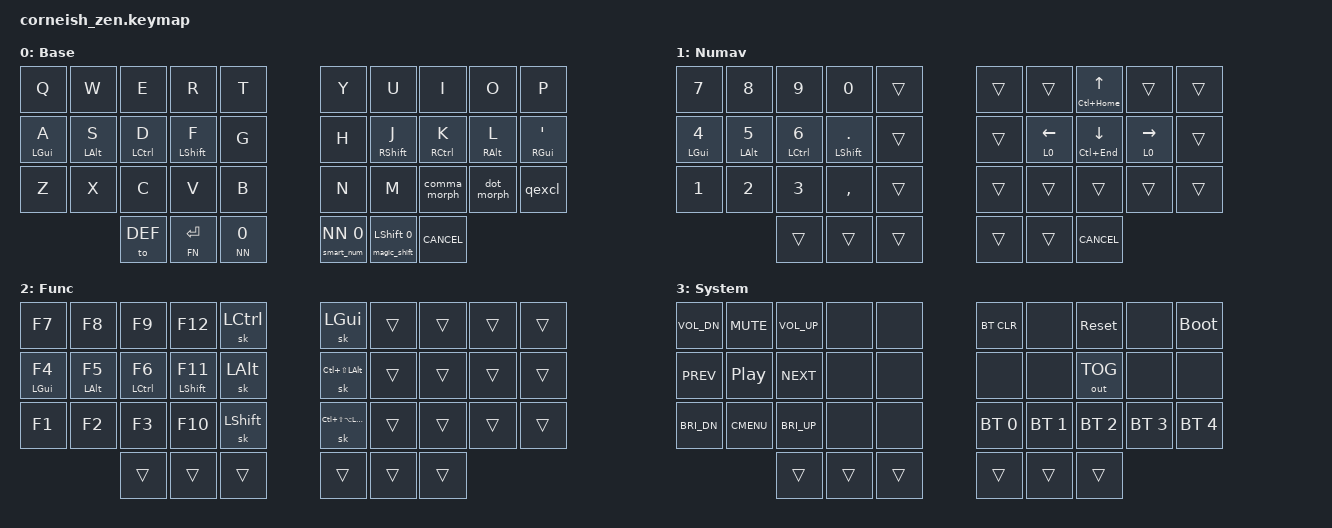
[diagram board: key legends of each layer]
#include <behaviors.dtsi>
#include <behaviors/num_word.dtsi> // Requires auto-layer module.
#include <dt-bindings/zmk/keys.h>
#include <dt-bindings/zmk/bt.h>
#include <dt-bindings/zmk/outputs.h>
#include "zmk-helpers/helper.h"
#include "zmk-helpers/key-labels/36.h"

/ { chosen { zmk,physical-layout = &foostan_corne_5col_layout; }; };

#define DEF 0
#define NN 1
#define FN 2
#define SYS 3
#define MOUSE 4

#define XXX &none
#define ___ &trans

/* Global defaults */

#define QUICK_TAP_MS 175

&sk {
  release-after-ms = <900>;
  quick-release;
};

&sl { // Allow sticky mods to chord across sticky layers.
  ignore-modifiers;
};

&lt {
  flavor = "balanced";
  tapping-term-ms = <200>;
  quick-tap-ms = <QUICK_TAP_MS>;
};

/* Homerow mods */

#define KEYS_L LT0 LT1 LT2 LT3 LT4 LM0 LM1 LM2 LM3 LM4 LB0 LB1 LB2 LB3 LB4
#define KEYS_R RT0 RT1 RT2 RT3 RT4 RM0 RM1 RM2 RM3 RM4 RB0 RB1 RB2 RB3 RB4
#ifndef LH2
  #define THUMBS LH1 LH0 RH0 RH1         // Thumbs on 34 keys.
#else
  #define THUMBS LH2 LH1 LH0 RH0 RH1 RH2 // Thumbs on 36+ keys.
#endif

#define MAKE_HRM(NAME, HOLD, TAP, TRIGGER_POS)                                 \
  ZMK_HOLD_TAP(NAME, bindings = <HOLD>, <TAP>; flavor = "balanced";            \
               tapping-term-ms = <200>; quick-tap-ms = <QUICK_TAP_MS>;         \
               require-prior-idle-ms = <130>; hold-trigger-on-release;         \
               hold-trigger-key-positions = <TRIGGER_POS>;)

MAKE_HRM(hml, &kp, &kp, KEYS_R THUMBS) // Left-hand HRMs.
MAKE_HRM(hmr, &kp, &kp, KEYS_L THUMBS) // Right-hand HRMs.

// Hack: Make HRM combos tap-only (cf, ZMK issue #544).
#define ZMK_COMBO_8(NAME, TAP, POS, LAYERS, COMBO_MS, IDLE_MS, HOLD, SIDE)     \
  MAKE_HRM(hm_combo_##NAME, &kp, TAP, SIDE THUMBS)                             \
  ZMK_COMBO_6(NAME, &hm_combo_##NAME HOLD 0, POS, LAYERS, COMBO_MS, IDLE_MS)

/* Combos, leader key sequences, mouse emulation */

#include "combos.dtsi" // Must be sourced after HRM-combo hack.
#include "leader.dtsi"
#include "mouse.dtsi"

/* Nav cluster */

// Trigger tap-action on all interrupts.
#define MT_CORE                                                                \
  flavor = "tap-preferred";                                                    \
  tapping-term-ms = <220>;                                                     \
  quick-tap-ms = <220>;                                                        \
  hold-trigger-key-positions = <0>;

&mt { MT_CORE };

ZMK_HOLD_TAP(mt_home, bindings = <&masked_home>, <&kp>; MT_CORE)
ZMK_HOLD_TAP(mt_end, bindings = <&masked_end>, <&kp>; MT_CORE)

#define NAV_LEFT  &mt_home 0   LEFT  // Tap: left  | Long-tap: start of line.
#define NAV_RIGHT &mt_end 0    RIGHT // Tap: right | Long-tap: end   of line.
#define NAV_UP    &mt LC(HOME) UP    // Tap: up    | Long-tap: start of doc.
#define NAV_DOWN  &mt LC(END)  DOWN  // Tap: down  | Long-tap: end   of doc.
#define NAV_BSPC  &mt LC(BSPC) BSPC  // Tap: bspc  | Long-tap: delete word bwd.
#define NAV_DEL   &mt LC(DEL)  DEL   // Tap: del   | Long-tap: delete word fwd.

// Mask CTRL on left/right hold to avoid accidental jumps to start/end of doc.
#define MASK_MODS(NAME, MODS, BINDING)                                         \
  ZMK_MOD_MORPH(NAME, bindings = <BINDING>, <BINDING>; mods = <MODS>;)

MASK_MODS(masked_home, (MOD_LCTL), &kp HOME)
MASK_MODS(masked_end,  (MOD_LCTL), &kp END)

/* Magic-shift & auto-layers */

// Tap: repeat after alpha, else sticky-shift |
// Shift + tap/ double-tap: caps-word | Hold: shift.
#define MAGIC_SHIFT &magic_shift LSHFT 0
ZMK_HOLD_TAP(magic_shift, bindings = <&kp>, <&magic_shift_tap>;
             flavor = "balanced"; tapping-term-ms = <200>;
             quick-tap-ms = <QUICK_TAP_MS>;)
ZMK_MOD_MORPH(magic_shift_tap, bindings = <&shift_repeat>, <&caps_word>;
              mods = <(MOD_LSFT)>;)
ZMK_ADAPTIVE_KEY(
    shift_repeat, bindings = <&sk LSHFT>;
    repeat {
      trigger-keys = <A B C D E F G H I J K L M N O P Q R S T U V W X Y Z>;
      bindings = <&key_repeat>;
      max-prior-idle-ms = <1200>;
      strict-modifiers;
    };)
&caps_word { // Mods deactivate caps-word, requires PR #1451. [TODO: rebase]
  /delete-property/ ignore-modifiers;
};

// Tap: num-word | double-tap: sticky num-layer | Hold: num-layer.
#define SMART_NUM &smart_num NN 0
ZMK_HOLD_TAP(smart_num, bindings = <&mo>, <&num_dance>; flavor = "balanced";
             tapping-term-ms = <200>; quick-tap-ms = <QUICK_TAP_MS>;)
ZMK_TAP_DANCE(num_dance, bindings = <&num_word NN>, <&sl NN>;
              tapping-term-ms = <200>;)

// Smart-mouse, requires tri-state module.
ZMK_TRI_STATE(
    smart_mouse, bindings = <&tog MOUSE>, <&none>, <&tog MOUSE>;
    ignored-key-positions =
        <LT1 LT2 LH0 LH1 RT1 RT2 RT3 RM0 RM1 RM2 RM3 RM4 RB1 RB2 RB3 RH0 RH1>;
    ignored-layers = <MOUSE NN FN>;)

/* Custom behaviors */

// Alt+Tab swapper, requires tri-state module.
ZMK_TRI_STATE(swapper1, bindings = <&kt LALT>, <&kp TAB>, <&kt LALT>;
              ignored-key-positions = <LT2 RT2 RT3 RM1 RM2 RM3>;)

// Alt+Shift language swapper, requires tri-state module.
ZMK_TRI_STATE(swapper2, bindings = <&kt LALT>, <&kp LSHFT>, <&kt LALT>;
              ignored-key-positions = <LT2 RT2 RT3 RT4 RM1 RM2 RM3 RM4>;)

// Define mod-morph with a *single* mod trigger for less repetition.
#define SIMPLE_MORPH(NAME, MOD, BINDING1, BINDING2)                            \
  ZMK_MOD_MORPH(NAME, mods = <(MOD_L##MOD | MOD_R##MOD)>;                      \
                bindings = <BINDING1>, <BINDING2>;)

// Tap: comma | Shift + tap: semicolon | Ctrl + shift + tap: <.
SIMPLE_MORPH(comma_morph, SFT, &kp COMMA, &comma_inner_morph)
SIMPLE_MORPH(comma_inner_morph, CTL, &kp SEMICOLON, &kp LESS_THAN)

// Tap: dot | Shift + tap: colon | Ctrl + shift + tap: >.
SIMPLE_MORPH(dot_morph, SFT, &kp DOT, &dot_inner_morph)
SIMPLE_MORPH(dot_inner_morph, CTL, &kp COLON, &kp GREATER_THAN)

// Tap: qmark | Shift + tap: excl.
SIMPLE_MORPH(qexcl, SFT, &kp QMARK, &kp EXCL)

// Tap: left/right parenthesis | Shft + tap: less-than/greater-than.
SIMPLE_MORPH(lpar_lt, SFT, &kp LPAR, &kp LT)
SIMPLE_MORPH(rpar_gt, SFT, &kp RPAR, &kp GT)

// Tap: space | Shift + tap: dot -> space -> sticky shift | Hold: nav layer.
ZMK_HOLD_TAP(lt_spc, bindings = <&mo>, <&spc_morph>; flavor = "balanced";
             tapping-term-ms = <200>; quick-tap-ms = <QUICK_TAP_MS>;)
SIMPLE_MORPH(spc_morph, SFT, &kp SPACE, &dot_spc)
ZMK_MACRO(dot_spc, bindings = <&kp DOT &kp SPACE &sk LSHFT>; wait-ms = <0>;
          tap-ms = <5>;)

// Tap: backspace | Lshft + tap: delete | Rshft + tap: shift-delete.
ZMK_MOD_MORPH(bs_del, bindings = <&kp BSPC>, <&kp DEL>;
              mods = <(MOD_LSFT|MOD_RSFT)>; keep-mods = <MOD_RSFT>;)

// Tap: copy | double-tap: cut.
ZMK_TAP_DANCE(copy_cut, bindings = <&kp LC(INS)>, <&kp LC(X)>;
              tapping-term-ms = <200>;)

// Sticky shift + leader.
ZMK_MACRO(leader_sft, bindings = <&sk LSHFT &leader>;)

// Misc aliases.
#define CANCEL    &kp K_CANCEL            // Cancel caps-word & auto-layers.
#define MEH       &sk LC(LS(LALT))
#define HYPER     &sk LC(LS(LA(LGUI)))
#define DSK_PREV  &hmr LCTRL LG(LC(LEFT)) // Previous desktop.
#define DSK_NEXT  &hmr LALT LG(LC(RIGHT)) // Next     desktop.
#define PIN_WIN   &kp LG(LC(LS(Q)))       // Pin window across desktops.
#define PIN_APP   &kp LG(LC(LS(A)))       // Pin application across desktops.
#define DSK_MGR   &kp LA(GRAVE)           // Desktop manager.
#define VOL_DOWN  &hmr RSHFT C_VOL_DN

// -------------------------------------------------------------------------- //

ZMK_CONDITIONAL_LAYER(sys, NN FN, SYS) // NN + FN --> SYS.

#ifndef ZMK_BASE_LAYER
  #define ZMK_BASE_LAYER(name, LT, RT, LM, RM, LB, RB, LH, RH)                 \
      ZMK_LAYER(name, LT RT LM RM LB RB LH RH)
#endif

ZMK_LAYER(Base,
     // ╭─────────────┬─────────────┬─────────────┬─────────────┬─────────────╮   ╭─────────────┬─────────────┬─────────────┬─────────────┬─────────────╮
          &kp Q         &kp W         &kp E         &kp R         &kp T             &kp Y         &kp U         &kp I         &kp O         &kp P
     // ├─────────────┼─────────────┼─────────────┼─────────────┼─────────────┤   ├─────────────┼─────────────┼─────────────┼─────────────┼─────────────┤
          &hml LGUI A   &hml LALT S   &hml LCTRL D  &hml LSHFT F  &kp G             &kp H         &hmr RSHFT J  &hmr RCTRL K  &hmr RALT L   &hmr RGUI SQT
     // ├─────────────┼─────────────┼─────────────┼─────────────┼─────────────┤   ├─────────────┼─────────────┼─────────────┼─────────────┼─────────────┤
          &kp Z         &kp X         &kp C         &kp V         &kp B             &kp N         &kp M         &comma_morph  &dot_morph    &qexcl
     // ╰─────────────┼─────────────┼─────────────┼─────────────┼─────────────┤   ├─────────────┼─────────────┼─────────────┼─────────────┼─────────────┤
                                      &to DEF       &lt FN RET    &lt_spc NN 0      SMART_NUM     MAGIC_SHIFT   CANCEL
     //                             ╰─────────────┴─────────────┴─────────────╯   ╰─────────────┴─────────────┴─────────────╯
)

ZMK_LAYER(Numav,
     // ╭─────────────┬─────────────┬─────────────┬─────────────┬─────────────╮   ╭─────────────┬─────────────┬─────────────┬─────────────┬─────────────╮
          &kp N7        &kp N8        &kp N9        &kp N0         ___              ___           ___           NAV_UP        ___           ___
     // ├─────────────┼─────────────┼─────────────┼─────────────┼─────────────┤   ├─────────────┼─────────────┼─────────────┼─────────────┼─────────────┤
          &hml LGUI N4  &hml LALT N5  &hml LCTRL N6 &hml LSHFT DOT ___              ___           NAV_LEFT      NAV_DOWN      NAV_RIGHT     ___
     // ├─────────────┼─────────────┼─────────────┼─────────────┼─────────────┤   ├─────────────┼─────────────┼─────────────┼─────────────┼─────────────┤
          &kp N1        &kp N2        &kp N3        &kp COMMA      ___              ___           ___           ___           ___           ___
     // ╰─────────────┼─────────────┼─────────────┼─────────────┼─────────────┤   ├─────────────┼─────────────┼─────────────┼─────────────┼─────────────┤
                                      ___          ___             ___              ___           ___           CANCEL
     //                             ╰─────────────┴─────────────┴─────────────╯   ╰─────────────┴─────────────┴─────────────╯
)

ZMK_LAYER(Func,
     // ╭─────────────┬─────────────┬─────────────┬─────────────┬─────────────╮   ╭─────────────┬─────────────┬─────────────┬─────────────┬─────────────╮
          &kp F7        &kp F8        &kp F9        &kp F12        &sk LCTRL        &sk LGUI      ___           ___           ___           ___
     // ├─────────────┼─────────────┼─────────────┼─────────────┼─────────────┤   ├─────────────┼─────────────┼─────────────┼─────────────┼─────────────┤
          &hml LGUI F4  &hml LALT F5  &hml LCTRL F6 &hml LSHFT F11 &sk LALT         MEH           ___           ___           ___           ___
     // ├─────────────┼─────────────┼─────────────┼─────────────┼─────────────┤   ├─────────────┼─────────────┼─────────────┼─────────────┼─────────────┤
          &kp F1        &kp F2        &kp F3        &kp F10        &sk LSHIFT       HYPER         ___           ___           ___           ___
     // ╰─────────────┼─────────────┼─────────────┼─────────────┼─────────────┤   ├─────────────┼─────────────┼─────────────┼─────────────┼─────────────┤
                                      ___           ___            ___              ___           ___           ___
     //                             ╰─────────────┴─────────────┴─────────────╯   ╰─────────────┴─────────────┴─────────────╯
)

ZMK_LAYER(System,
     // ╭─────────────┬─────────────┬─────────────┬─────────────┬─────────────╮   ╭─────────────┬─────────────┬─────────────┬─────────────┬─────────────╮
          &kp C_VOL_DN  &kp C_MUTE    &kp C_VOL_UP  &none         &none             &bt BT_CLR    &none         &sys_reset    &none         &bootloader
     // ├─────────────┼─────────────┼─────────────┼─────────────┼─────────────┤   ├─────────────┼─────────────┼─────────────┼─────────────┼─────────────┤
          &kp C_PREV    &kp C_PP      &kp C_NEXT    &none         &none             &none         &none         &out OUT_TOG  &none         &none       
     // ├─────────────┼─────────────┼─────────────┼─────────────┼─────────────┤   ├─────────────┼─────────────┼─────────────┼─────────────┼─────────────┤
          &kp C_BRI_DN &kp K_CMENU   &kp C_BRI_UP   &none         &none             &bt BT_SEL 0  &bt BT_SEL 1  &bt BT_SEL 2  &bt BT_SEL 3  &bt BT_SEL 4
     // ╰─────────────┼─────────────┼─────────────┼─────────────┼─────────────┤   ├─────────────┼─────────────┼─────────────┼─────────────┼─────────────┤
                                      ___           ___           ___               ___           ___           ___
     //                             ╰─────────────┴─────────────┴─────────────╯   ╰─────────────┴─────────────┴─────────────╯
)

ZMK_BASE_LAYER(Mouse,
      //╭─────────────┬─────────────┬─────────────┬─────────────┬─────────────╮ ╭─────────────┬─────────────┬─────────────┬─────────────┬─────────────╮
          ___           ___           ___           ___           ___         ,   ___           &kp PG_UP     U_MS_U         &kp PG_DN    ___         ,
      //├─────────────┼─────────────┼─────────────┼─────────────┼─────────────┤ ├─────────────┼─────────────┼─────────────┼─────────────┼─────────────┤
          ___           ___           ___           ___           ___         ,   U_WH_L        U_MS_L        U_MS_D         U_MS_R       U_WH_R      ,
      //├─────────────┼─────────────┼─────────────┼─────────────┼─────────────┤ ├─────────────┼─────────────┼─────────────┼─────────────┼─────────────┤
          ___           ___           ___           ___           ___         ,   ___           &mkp LCLK     &mkp MCLK      &mkp RCLK    ___         ,
      //╰─────────────┼─────────────┴─────────────┼─────────────┼─────────────┤ ├─────────────┼─────────────┼─────────────┴───────────────────────────╯
                                      ___           ___           ___         ,   ___           U_WH_U        U_WH_D
      //                            ╰─────────────┴─────────────┴─────────────╯ ╰─────────────┴─────────────┴─────────────╯
)
